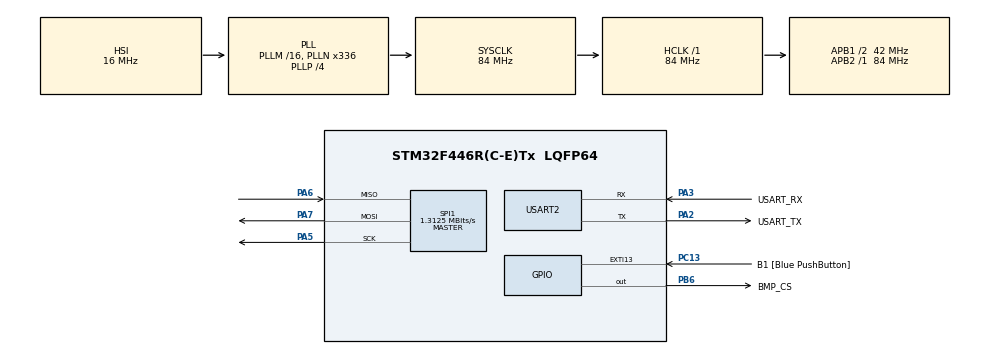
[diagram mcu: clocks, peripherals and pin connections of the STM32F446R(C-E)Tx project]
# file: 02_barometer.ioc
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Mcu.Family=STM32F4
Mcu.Name=STM32F446R(C-E)Tx
Mcu.Package=LQFP64
NVIC.PriorityGroup=NVIC_PRIORITYGROUP_0
PA13.GPIO_Label=TMS
PA13.Mode=Serial_Wire
PA13.Signal=SYS_JTMS-SWDIO
PA14.GPIO_Label=TCK
PA14.Mode=Serial_Wire
PA14.Signal=SYS_JTCK-SWCLK
PA2.GPIO_Label=USART_TX
PA2.Mode=Asynchronous
PA2.Signal=USART2_TX
PA3.GPIO_Label=USART_RX
PA3.Mode=Asynchronous
PA3.Signal=USART2_RX
PA5.Mode=Full_Duplex_Master
PA5.Signal=SPI1_SCK
PA6.Mode=Full_Duplex_Master
PA6.Signal=SPI1_MISO
PA7.Mode=Full_Duplex_Master
PA7.Signal=SPI1_MOSI
PB3.GPIO_Label=SWO
PB3.Signal=SYS_JTDO-SWO
PB6.GPIO_Label=BMP_CS
PB6.Signal=GPIO_Output
PC13.GPIO_Label=B1 [Blue PushButton]
PC13.GPIO_ModeDefaultEXTI=GPIO_MODE_IT_FALLING
PC13.Signal=GPXTI13
PC14-OSC32_IN.Mode=LSE-External-Oscillator
PC14-OSC32_IN.Signal=RCC_OSC32_IN
PC15-OSC32_OUT.Mode=LSE-External-Oscillator
PC15-OSC32_OUT.Signal=RCC_OSC32_OUT
PH0-OSC_IN.Mode=HSE-External-Oscillator
PH0-OSC_IN.Signal=RCC_OSC_IN
PH1-OSC_OUT.Mode=HSE-External-Oscillator
PH1-OSC_OUT.Signal=RCC_OSC_OUT
ProjectManager.HeapSize=0x200
ProjectManager.StackSize=0x400
ProjectManager.TargetToolchain=CMake
RCC.48MHZClocksFreq_Value=84000000
RCC.AHBFreq_Value=84000000
RCC.APB1CLKDivider=RCC_HCLK_DIV2
RCC.APB1Freq_Value=42000000
RCC.APB1TimFreq_Value=84000000
RCC.APB2Freq_Value=84000000
RCC.APB2TimFreq_Value=84000000
RCC.CortexFreq_Value=84000000
RCC.FLatency-AdvancedSettings=FLASH_LATENCY_2
RCC.HCLKFreq_Value=84000000
RCC.HSE_VALUE=8000000
RCC.HSI_VALUE=16000000
RCC.PLLN=336
RCC.PLLP=RCC_PLLP_DIV4
RCC.SYSCLKFreq_VALUE=84000000
RCC.SYSCLKSource=RCC_SYSCLKSOURCE_PLLCLK
RCC.USBFreq_Value=168000000
RCC.VCOOutputFreq_Value=336000000
SPI1.BaudRatePrescaler=SPI_BAUDRATEPRESCALER_64
SPI1.CalculateBaudRate=1.3125 MBits/s
SPI1.Direction=SPI_DIRECTION_2LINES
SPI1.Mode=SPI_MODE_MASTER
SPI1.VirtualType=VM_MASTER
USART2.VirtualMode=VM_ASYNC
board=NUCLEO-F446RE

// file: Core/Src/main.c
/* USER CODE BEGIN Header */
/**
  ******************************************************************************
  * @file           : main.c
  * @brief          : Main program body
  ******************************************************************************
  * @attention
  *
  * Copyright (c) 2026 STMicroelectronics.
  * All rights reserved.
  *
  * This software is licensed under terms that can be found in the LICENSE file
  * in the root directory of this software component.
  * If no LICENSE file comes with this software, it is provided AS-IS.
  *
  ******************************************************************************
  */
/* USER CODE END Header */
#include "main.h"

/* USER CODE BEGIN Includes */
#include <stdio.h>
/* USER CODE END Includes */

/* USER CODE BEGIN PTD */
typedef struct {
    uint16_t dig_T1;
    int16_t dig_T2;
    int16_t dig_T3;
    uint16_t dig_P1;
    int16_t dig_P2;
    int16_t dig_P3;
    int16_t dig_P4;
    int16_t dig_P5;
    int16_t dig_P6;
    int16_t dig_P7;
    int16_t dig_P8;
    int16_t dig_P9;
} BMP280_Calib;
/* USER CODE END PTD */

SPI_HandleTypeDef hspi1;

UART_HandleTypeDef huart2;

/* USER CODE BEGIN PV */
BMP280_Calib calib; // Structure to hold calibration data
int32_t t_fine; // Variable to hold the fine temperature value for compensation
/* USER CODE END PV */

void SystemClock_Config(void);
static void MX_GPIO_Init(void);
static void MX_USART2_UART_Init(void);
static void MX_SPI1_Init(void);
/* USER CODE BEGIN PFP */
uint8_t BMP280_ReadRegister(uint8_t reg); // Function to read a register from the BMP280 sensor

void BMP280ReadRegisters(uint8_t reg, uint8_t *buffer, uint16_t len); // Function to read multiple registers from the BMP280 sensor
void BMP280_ReadCalibration(void); // Function to read calibration data from the BMP280 sensor

void BMP280ReadRaw(int32_t *raw_temp, int32_t *raw_press); // Function to read raw temperature and pressure data from the BMP280 sensor
double BMP280CompensateTemp(int32_t raw_temp); // Function to compensate the raw temperature data using calibration data
double BMP280CompensatePress(int32_t raw_press); // Function to compensate the raw pressure data using calibration data

void BMP280_WriteRegister(uint8_t reg, uint8_t value);

/* USER CODE END PFP */

int main(void)
{

  /* MCU Configuration--------------------------------------------------------*/

  /* Reset of all peripherals, Initializes the Flash interface and the Systick. */
  HAL_Init();

  /* Configure the system clock */
  SystemClock_Config();

  /* Initialize all configured peripherals */
  MX_GPIO_Init();
  MX_USART2_UART_Init();
  MX_SPI1_Init();

  /* Infinite loop */
  /* USER CODE BEGIN WHILE */
  uint8_t chip_id = BMP280_ReadRegister(0xD0); // Read the chip ID register
  printf("BMP280 Chip ID: 0x%02X\r\n", chip_id); // Print the chip ID to UART

  BMP280_ReadCalibration(); // Read calibration data from the sensor
  printf("dig_T1 = %u\r\n", calib.dig_T1);
  printf("dig_T2 = %d\r\n", calib.dig_T2);
  printf("dig_T3 = %d\r\n", calib.dig_T3);
  printf("dig_P1 = %u\r\n", calib.dig_P1);
  printf("dig_P9 = %d\r\n", calib.dig_P9);

  BMP280_WriteRegister(0xF4, 0x57); // ← ADD: wake sensor, temp ×2, press ×16, normal mode

  int32_t raw_temp, raw_press;

  while (1)
  {
    BMP280ReadRaw(&raw_temp, &raw_press); // Read raw temperature and pressure data
    double tempC = BMP280CompensateTemp(raw_temp); // Compensate the raw temperature data
    double pressPa = BMP280CompensatePress(raw_press); // Compensate the raw pressure data
    printf("Temperature: %.2f C, Pressure: %.2f Pa\r\n", tempC, pressPa); // Print the compensated temperature and pressure
    HAL_Delay(1000); // Delay for 1 second
    /* USER CODE END WHILE */

  }
}

void SystemClock_Config(void)
{
  RCC_OscInitTypeDef RCC_OscInitStruct = {0};
  RCC_ClkInitTypeDef RCC_ClkInitStruct = {0};

  /** Configure the main internal regulator output voltage
  */
  __HAL_RCC_PWR_CLK_ENABLE();
  __HAL_PWR_VOLTAGESCALING_CONFIG(PWR_REGULATOR_VOLTAGE_SCALE3);

  /** Initializes the RCC Oscillators according to the specified parameters
  * in the RCC_OscInitTypeDef structure.
  */
  RCC_OscInitStruct.OscillatorType = RCC_OSCILLATORTYPE_HSI;
  RCC_OscInitStruct.HSIState = RCC_HSI_ON;
  RCC_OscInitStruct.HSICalibrationValue = RCC_HSICALIBRATION_DEFAULT;
  RCC_OscInitStruct.PLL.PLLState = RCC_PLL_ON;
  RCC_OscInitStruct.PLL.PLLSource = RCC_PLLSOURCE_HSI;
  RCC_OscInitStruct.PLL.PLLM = 16;
  RCC_OscInitStruct.PLL.PLLN = 336;
  RCC_OscInitStruct.PLL.PLLP = RCC_PLLP_DIV4;
  RCC_OscInitStruct.PLL.PLLQ = 2;
  RCC_OscInitStruct.PLL.PLLR = 2;
  if (HAL_RCC_OscConfig(&RCC_OscInitStruct) != HAL_OK)
  {
    Error_Handler();
  }

  /** Initializes the CPU, AHB and APB buses clocks
  */
  RCC_ClkInitStruct.ClockType = RCC_CLOCKTYPE_HCLK|RCC_CLOCKTYPE_SYSCLK
                              |RCC_CLOCKTYPE_PCLK1|RCC_CLOCKTYPE_PCLK2;
  RCC_ClkInitStruct.SYSCLKSource = RCC_SYSCLKSOURCE_PLLCLK;
  RCC_ClkInitStruct.AHBCLKDivider = RCC_SYSCLK_DIV1;
  RCC_ClkInitStruct.APB1CLKDivider = RCC_HCLK_DIV2;
  RCC_ClkInitStruct.APB2CLKDivider = RCC_HCLK_DIV1;

  if (HAL_RCC_ClockConfig(&RCC_ClkInitStruct, FLASH_LATENCY_2) != HAL_OK)
  {
    Error_Handler();
  }
}

static void MX_SPI1_Init(void)
{

  /* SPI1 parameter configuration*/
  hspi1.Instance = SPI1;
  hspi1.Init.Mode = SPI_MODE_MASTER;
  hspi1.Init.Direction = SPI_DIRECTION_2LINES;
  hspi1.Init.DataSize = SPI_DATASIZE_8BIT;
  hspi1.Init.CLKPolarity = SPI_POLARITY_LOW;
  hspi1.Init.CLKPhase = SPI_PHASE_1EDGE;
  hspi1.Init.NSS = SPI_NSS_SOFT;
  hspi1.Init.BaudRatePrescaler = SPI_BAUDRATEPRESCALER_64;
  hspi1.Init.FirstBit = SPI_FIRSTBIT_MSB;
  hspi1.Init.TIMode = SPI_TIMODE_DISABLE;
  hspi1.Init.CRCCalculation = SPI_CRCCALCULATION_DISABLE;
  hspi1.Init.CRCPolynomial = 10;
  if (HAL_SPI_Init(&hspi1) != HAL_OK)
  {
    Error_Handler();
  }

}

static void MX_USART2_UART_Init(void)
{

  huart2.Instance = USART2;
  huart2.Init.BaudRate = 115200;
  huart2.Init.WordLength = UART_WORDLENGTH_8B;
  huart2.Init.StopBits = UART_STOPBITS_1;
  huart2.Init.Parity = UART_PARITY_NONE;
  huart2.Init.Mode = UART_MODE_TX_RX;
  huart2.Init.HwFlowCtl = UART_HWCONTROL_NONE;
  huart2.Init.OverSampling = UART_OVERSAMPLING_16;
  if (HAL_UART_Init(&huart2) != HAL_OK)
  {
    Error_Handler();
  }

}

static void MX_GPIO_Init(void)
{
  GPIO_InitTypeDef GPIO_InitStruct = {0};

  /* GPIO Ports Clock Enable */
  __HAL_RCC_GPIOC_CLK_ENABLE();
  __HAL_RCC_GPIOH_CLK_ENABLE();
  __HAL_RCC_GPIOA_CLK_ENABLE();
  __HAL_RCC_GPIOB_CLK_ENABLE();

  /*Configure GPIO pin Output Level */
  HAL_GPIO_WritePin(BMP_CS_GPIO_Port, BMP_CS_Pin, GPIO_PIN_RESET);

  /*Configure GPIO pin : B1_Pin */
  GPIO_InitStruct.Pin = B1_Pin;
  GPIO_InitStruct.Mode = GPIO_MODE_IT_FALLING;
  GPIO_InitStruct.Pull = GPIO_NOPULL;
  HAL_GPIO_Init(B1_GPIO_Port, &GPIO_InitStruct);

  /*Configure GPIO pin : BMP_CS_Pin */
  GPIO_InitStruct.Pin = BMP_CS_Pin;
  GPIO_InitStruct.Mode = GPIO_MODE_OUTPUT_PP;
  GPIO_InitStruct.Pull = GPIO_NOPULL;
  GPIO_InitStruct.Speed = GPIO_SPEED_FREQ_LOW;
  HAL_GPIO_Init(BMP_CS_GPIO_Port, &GPIO_InitStruct);

}

/* USER CODE BEGIN 4 */
int _write(int file, char *ptr, int len)
{
  HAL_UART_Transmit(&huart2, (uint8_t *)ptr, len, HAL_MAX_DELAY);
  return len;
}

uint8_t BMP280_ReadRegister(uint8_t reg)
{
  uint8_t tx[2];
  uint8_t rx[2];

  tx[0] = reg | 0x80; // Address byte, bit 7 set = READ
  tx[1] = 0x00; // Dummy byte to clock the answer back

  HAL_GPIO_WritePin(BMP_CS_GPIO_Port, BMP_CS_Pin,  GPIO_PIN_RESET); // CS Low: Start communication
  HAL_SPI_TransmitReceive(&hspi1, tx, rx, 2, HAL_MAX_DELAY); // exchange 2 bytes
  HAL_GPIO_WritePin(BMP_CS_GPIO_Port, BMP_CS_Pin, GPIO_PIN_SET); // CS High: End communication

  return rx[1]; // The sensors answers landed in the second byte
}

void BMP280_WriteRegister(uint8_t reg, uint8_t value)
{
    uint8_t tx[2];
    tx[0] = reg & 0x7F;   // address byte, bit 7 cleared = WRITE
    tx[1] = value;        // the byte to write into that register

    HAL_GPIO_WritePin(BMP_CS_GPIO_Port, BMP_CS_Pin, GPIO_PIN_RESET);  // CS low
    HAL_SPI_Transmit(&hspi1, tx, 2, HAL_MAX_DELAY);                   // send both bytes
    HAL_GPIO_WritePin(BMP_CS_GPIO_Port, BMP_CS_Pin, GPIO_PIN_SET);    // CS high
}

void BMP280ReadRegisters(uint8_t reg, uint8_t *buffer, uint16_t len)
{
  uint8_t addr = reg | 0x80; // Address byte, bit 7 set = READ

  HAL_GPIO_WritePin(BMP_CS_GPIO_Port, BMP_CS_Pin, GPIO_PIN_RESET); // CS Low: Start communication
  HAL_SPI_Transmit(&hspi1, &addr, 1, HAL_MAX_DELAY); // exchange registers
  HAL_SPI_Receive(&hspi1, buffer, len, HAL_MAX_DELAY); // receive data
  HAL_GPIO_WritePin(BMP_CS_GPIO_Port, BMP_CS_Pin, GPIO_PIN_SET); // CS High: End communication
}

void BMP280_ReadCalibration(void)
{
  uint8_t buf[24]; // Buffer to hold calibration data
  BMP280ReadRegisters(0x88, buf, 24); // Read 24 bytes of calibration data starting from register 0x88

  calib.dig_T1 = (uint16_t)((buf[1] << 8) | buf[0]);
  calib.dig_T2 = (int16_t)((buf[3] << 8) | buf[2]);
  calib.dig_T3 = (int16_t)((buf[5] << 8) | buf[4]);
  calib.dig_P1 = (uint16_t)((buf[7] << 8) | buf[6]);
  calib.dig_P2 = (int16_t)((buf[9] << 8) | buf[8]);
  calib.dig_P3 = (int16_t)((buf[11] << 8) | buf[10]);
  calib.dig_P4 = (int16_t)((buf[13] << 8) | buf[12]);
  calib.dig_P5 = (int16_t)((buf[15] << 8) | buf[14]);
  calib.dig_P6 = (int16_t)((buf[17] << 8) | buf[16]);
  calib.dig_P7 = (int16_t)((buf[19] << 8) | buf[18]);
  calib.dig_P8 = (int16_t)((buf[21] << 8) | buf[20]);
  calib.dig_P9 = (int16_t)((buf[23] << 8) | buf[22]);
}

void BMP280ReadRaw(int32_t *raw_temp, int32_t *raw_press)
{
  uint8_t buf[6]; // Buffer to hold raw data
  BMP280ReadRegisters(0xF7, buf, 6); // Read 6 bytes of raw data starting from register 0xF7

  *raw_press = (int32_t)((buf[0] << 12) | (buf[1] << 4) | (buf[2] >> 4)); // Combine bytes to get raw pressure
  *raw_temp = (int32_t)((buf[3] << 12) | (buf[4] << 4) | (buf[5] >> 4)); // Combine bytes to get raw temperature
}

double BMP280CompensateTemp(int32_t raw_temp)
{
  double var1, var2, T;
  var1 = (((double)raw_temp) / 16384.0 - ((double)calib.dig_T1) / 1024.0) * ((double)calib.dig_T2);
  var2 = ((((double)raw_temp)/131072.0 - ((double)calib.dig_T1)/8192.0) *
          (((double)raw_temp)/131072.0 - ((double)calib.dig_T1)/8192.0)) * ((double)calib.dig_T3);
  t_fine = (int32_t)(var1 + var2);
  T = (var1 + var2) / 5120.0;
  return T; // Return temperature in degrees Celsius
}

double BMP280CompensatePress(int32_t raw_press)
{
  double var1, var2, p;
  var1 = ((double)t_fine / 2.0) - 64000.0;
  var2 = var1 * var1 * ((double)calib.dig_P6) / 32768.0;
  var2 = var2 + var1 * ((double)calib.dig_P5) * 2.0;
  var2 = (var2 / 4.0) + (((double)calib.dig_P4) * 65536.0);
  var1 = (((double)calib.dig_P3) * var1 * var1 / 524288.0 + ((double)calib.dig_P2) * var1) / 524288.0;
  var1 = (1.0 + var1 / 32768.0) * ((double)calib.dig_P1);

  if (var1 == 0.0)
    return 0; // Avoid division by zero

  p = 1048576.0 - (double)raw_press;
  p = (p - (var2 / 4096.0)) * 6250.0 / var1;
  var1 = ((double)calib.dig_P9) * p * p / 2147483648.0;
  var2 = p * ((double)calib.dig_P8) / 32768.0;

  p = p + (var1 + var2 + ((double)calib.dig_P7)) / 16.0;

  return p; // Return pressure in Pascals
}

/* USER CODE END 4 */

void Error_Handler(void)
{
  __disable_irq();
  while (1)
  {
  }
}
